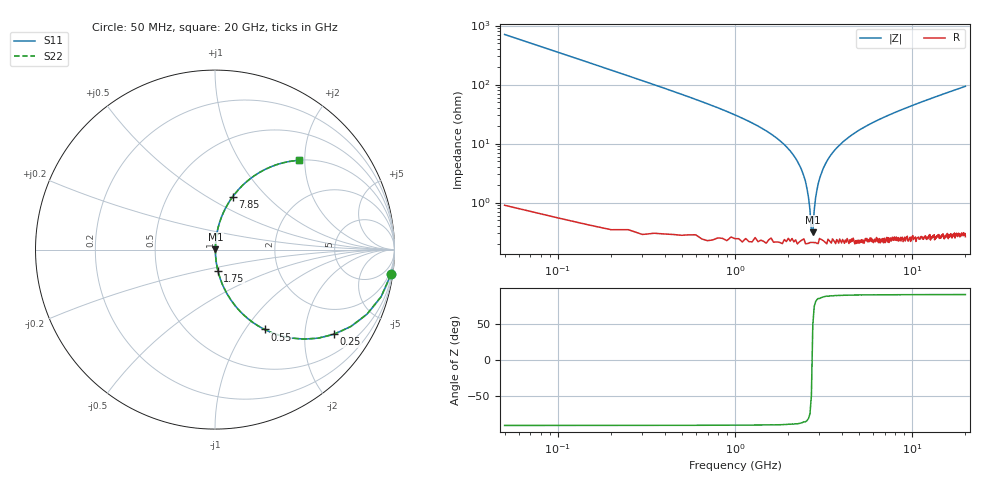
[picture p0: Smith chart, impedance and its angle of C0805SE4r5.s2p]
! AVX Thin Film Operation		Date: April 2012
! Description: Accu-P® Series, Thin Film, SMD, RF Capacitor
! Part Number: 08051J4R5ABTTR
!	50	MHz	-	20.05	GHz
!	Serial	Measurements
#	MHZ	S	MA	R	50
!	S11	S21	S12	S22
!	dB	Phase	dB	Phase	dB	Phase	dB	Phase
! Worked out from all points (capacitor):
!   400 points, 50 MHz to 20 GHz, reference 50 ohm
!   read as one part in series: C = 4.5 pF near 150 MHz
!   lowest |Z| = 312 mohm at 2.75 GHz (marker M1)
!   series resonance near 2.726 GHz, so ESL is about 760 pH
!   S11 on the Smith chart (normalised r, x): 50 MHz: 1, -14; 250 MHz: 1.01, -2.80; 550 MHz: 1.01, -1.23; 1.75 GHz: 1.00, -0.24; 7.85 GHz: 1.00, +0.66; 20 GHz: 1.00, +1.87
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50  0.99 -8.0  0.14 81.9  0.14 81.9  0.99 -8.0
150  0.92 -23.0  0.391 66.9  0.391 66.9  0.92 -23.0
250  0.813 -35.4  0.58 54.4  0.58 54.4  0.813 -35.4
550  0.524 -58.2  0.849 31.6  0.849 31.6  0.524 -58.2
1000  0.292 -72.6  0.954 17.0  0.954 17.0  0.292 -72.6
1750  0.118 -82.2  0.991 6.8  0.991 6.8  0.118 -82.2
2200  0.056 -84.5  0.996 3.2  0.996 3.2  0.056 -84.5
2450  0.028 -83.8  0.997 1.6  0.997 1.6  0.028 -83.8
2600  0.012 -79.1  0.998 0.7  0.998 0.7  0.012 -79.1
2650  0.007623 -72.7  0.998 0.4  0.998 0.4  0.007623 -72.7
2700  0.003302 -47.9  0.998 0.1  0.998 0.1  0.003302 -47.9
2750  0.003186 46.0  0.998 -0.1  0.998 -0.1  0.003186 46.0
2850  0.012 78.5  0.998 -0.7  0.998 -0.7  0.012 78.5
2950  0.021 82.7  0.998 -1.2  0.998 -1.2  0.021 82.7
3400  0.058 84.5  0.996 -3.3  0.996 -3.3  0.058 84.5
4700  0.147 80.7  0.987 -8.4  0.987 -8.4  0.147 80.7
6700  0.257 74.6  0.964 -14.9  0.964 -14.9  0.257 74.6
7850  0.312 71.4  0.948 -18.2  0.948 -18.2  0.312 71.4
10050  0.404 65.8  0.912 -23.9  0.912 -23.9  0.404 65.8
13350  0.519 58.5  0.852 -31.3  0.852 -31.3  0.519 58.5
16700  0.611 52.1  0.79 -37.7  0.79 -37.7  0.611 52.1
20000  0.682 46.8  0.73 -43.0  0.73 -43.0  0.682 46.8
